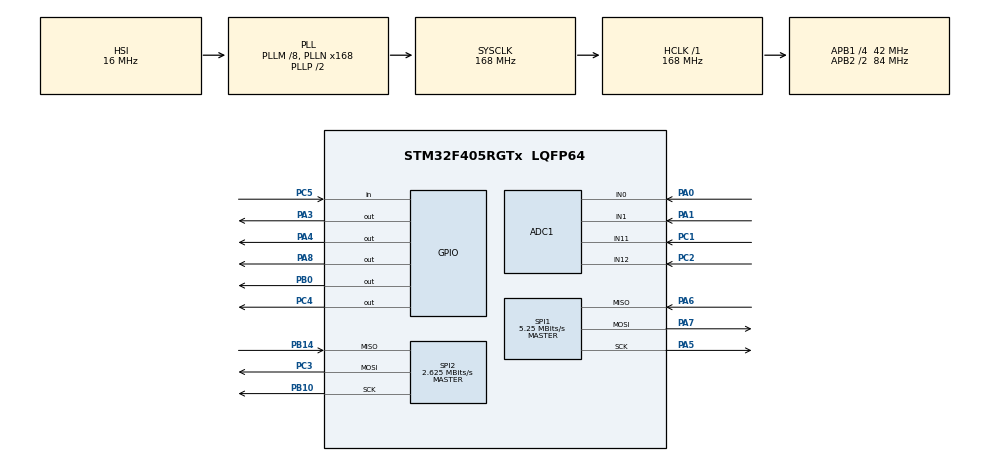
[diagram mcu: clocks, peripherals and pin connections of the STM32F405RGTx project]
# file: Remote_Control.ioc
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ADC1.Channel-0\#ChannelRegularConversion=ADC_CHANNEL_0
ADC1.Channel-1\#ChannelRegularConversion=ADC_CHANNEL_1
ADC1.Channel-2\#ChannelRegularConversion=ADC_CHANNEL_11
ADC1.Channel-3\#ChannelRegularConversion=ADC_CHANNEL_12
ADC1.ContinuousConvMode=ENABLE
ADC1.DMAContinuousRequests=ENABLE
ADC1.DiscontinuousConvMode=DISABLE
ADC1.ExternalTrigConv=ADC_EXTERNALTRIGCONV_T2_TRGO
ADC1.ExternalTrigConvEdge=ADC_EXTERNALTRIGCONVEDGE_RISINGFALLING
ADC1.NbrOfConversion=4
ADC1.NbrOfConversionFlag=1
ADC1.Rank-0\#ChannelRegularConversion=1
ADC1.Rank-1\#ChannelRegularConversion=2
ADC1.Rank-2\#ChannelRegularConversion=3
ADC1.Rank-3\#ChannelRegularConversion=4
ADC1.SamplingTime-0\#ChannelRegularConversion=ADC_SAMPLETIME_3CYCLES
ADC1.SamplingTime-1\#ChannelRegularConversion=ADC_SAMPLETIME_3CYCLES
ADC1.SamplingTime-2\#ChannelRegularConversion=ADC_SAMPLETIME_3CYCLES
ADC1.SamplingTime-3\#ChannelRegularConversion=ADC_SAMPLETIME_3CYCLES
ADC1.ScanConvMode=ENABLE
ADC1.master=1
Dma.ADC1.1.Direction=DMA_PERIPH_TO_MEMORY
Dma.ADC1.1.FIFOMode=DMA_FIFOMODE_DISABLE
Dma.ADC1.1.Instance=DMA2_Stream0
Dma.ADC1.1.MemDataAlignment=DMA_MDATAALIGN_HALFWORD
Dma.ADC1.1.MemInc=DMA_MINC_ENABLE
Dma.ADC1.1.Mode=DMA_CIRCULAR
Dma.ADC1.1.PeriphDataAlignment=DMA_PDATAALIGN_HALFWORD
Dma.ADC1.1.PeriphInc=DMA_PINC_DISABLE
Dma.ADC1.1.Priority=DMA_PRIORITY_LOW
Dma.Request0=SPI2_TX
Dma.Request1=ADC1
Dma.SPI2_TX.0.Direction=DMA_MEMORY_TO_PERIPH
Dma.SPI2_TX.0.FIFOMode=DMA_FIFOMODE_DISABLE
Dma.SPI2_TX.0.Instance=DMA1_Stream4
Dma.SPI2_TX.0.MemDataAlignment=DMA_MDATAALIGN_BYTE
Dma.SPI2_TX.0.MemInc=DMA_MINC_ENABLE
Dma.SPI2_TX.0.Mode=DMA_NORMAL
Dma.SPI2_TX.0.PeriphDataAlignment=DMA_PDATAALIGN_BYTE
Dma.SPI2_TX.0.PeriphInc=DMA_PINC_DISABLE
Dma.SPI2_TX.0.Priority=DMA_PRIORITY_MEDIUM
Mcu.Family=STM32F4
Mcu.Name=STM32F405RGTx
Mcu.Package=LQFP64
NVIC.DMA1_Stream4_IRQn=true\:0\:0\:false\:false\:true\:false\:true
NVIC.DMA2_Stream0_IRQn=true\:0\:0\:false\:false\:true\:false\:true
NVIC.PriorityGroup=NVIC_PRIORITYGROUP_4
NVIC.TIM2_IRQn=true\:7\:0\:true\:false\:true\:true\:true
PA0-WKUP.Signal=ADCx_IN0
PA1.Signal=ADCx_IN1
PA13.Mode=Serial_Wire
PA13.Signal=SYS_JTMS-SWDIO
PA14.Mode=Serial_Wire
PA14.Signal=SYS_JTCK-SWCLK
PA3.Signal=GPIO_Output
PA4.GPIO_PuPd=GPIO_PULLUP
PA4.GPIO_Speed=GPIO_SPEED_FREQ_VERY_HIGH
PA4.Signal=GPIO_Output
PA5.Mode=Full_Duplex_Master
PA5.Signal=SPI1_SCK
PA6.Mode=Full_Duplex_Master
PA6.Signal=SPI1_MISO
PA7.Mode=Full_Duplex_Master
PA7.Signal=SPI1_MOSI
PA8.GPIO_PuPd=GPIO_PULLUP
PA8.GPIO_Speed=GPIO_SPEED_FREQ_VERY_HIGH
PA8.Signal=GPIO_Output
PB0.GPIO_Speed=GPIO_SPEED_FREQ_VERY_HIGH
PB0.Signal=GPIO_Output
PB10.Mode=Full_Duplex_Master
PB10.Signal=SPI2_SCK
PB14.Mode=Full_Duplex_Master
PB14.Signal=SPI2_MISO
PC1.Signal=ADCx_IN11
PC14-OSC32_IN.Mode=LSE-External-Oscillator
PC14-OSC32_IN.Signal=RCC_OSC32_IN
PC15-OSC32_OUT.Mode=LSE-External-Oscillator
PC15-OSC32_OUT.Signal=RCC_OSC32_OUT
PC2.Signal=ADCx_IN12
PC3.Mode=Full_Duplex_Master
PC3.Signal=SPI2_MOSI
PC4.Signal=GPIO_Output
PC5.Signal=GPIO_Input
PH0-OSC_IN.Mode=HSE-External-Oscillator
PH0-OSC_IN.Signal=RCC_OSC_IN
PH1-OSC_OUT.Mode=HSE-External-Oscillator
PH1-OSC_OUT.Signal=RCC_OSC_OUT
ProjectManager.HeapSize=0x2000
ProjectManager.StackSize=0x2000
ProjectManager.TargetToolchain=MDK-ARM V5.27
RCC.48MHZClocksFreq_Value=84000000
RCC.AHBFreq_Value=168000000
RCC.APB1CLKDivider=RCC_HCLK_DIV4
RCC.APB1Freq_Value=42000000
RCC.APB1TimFreq_Value=84000000
RCC.APB2CLKDivider=RCC_HCLK_DIV2
RCC.APB2Freq_Value=84000000
RCC.APB2TimFreq_Value=168000000
RCC.CortexFreq_Value=168000000
RCC.HCLKFreq_Value=168000000
RCC.HSE_VALUE=8000000
RCC.HSI_VALUE=16000000
RCC.PLLM=8
RCC.PLLN=168
RCC.SYSCLKFreq_VALUE=168000000
RCC.SYSCLKSource=RCC_SYSCLKSOURCE_PLLCLK
RCC.VCOOutputFreq_Value=336000000
SH.ADCx_IN0.0=ADC1_IN0,IN0
SH.ADCx_IN1.0=ADC1_IN1,IN1
SH.ADCx_IN11.0=ADC1_IN11,IN11
SH.ADCx_IN12.0=ADC1_IN12,IN12
SPI1.BaudRatePrescaler=SPI_BAUDRATEPRESCALER_16
SPI1.CalculateBaudRate=5.25 MBits/s
SPI1.Direction=SPI_DIRECTION_2LINES
SPI1.Mode=SPI_MODE_MASTER
SPI1.VirtualType=VM_MASTER
SPI2.BaudRatePrescaler=SPI_BAUDRATEPRESCALER_16
SPI2.CLKPhase=SPI_PHASE_1EDGE
SPI2.CLKPolarity=SPI_POLARITY_HIGH
SPI2.CalculateBaudRate=2.625 MBits/s
SPI2.Direction=SPI_DIRECTION_2LINES
SPI2.Mode=SPI_MODE_MASTER
SPI2.VirtualType=VM_MASTER
TIM1.AutoReloadPreload=TIM_AUTORELOAD_PRELOAD_ENABLE
TIM1.Period=1000-1
TIM1.Prescaler=168
TIM1.TIM_MasterOutputTrigger=TIM_TRGO_UPDATE
TIM2.AutoReloadPreload=TIM_AUTORELOAD_PRELOAD_ENABLE
TIM2.Period=1000-1
TIM2.Prescaler=83
TIM2.TIM_MasterOutputTrigger=TIM_TRGO_UPDATE
TIM3.Period=1000-1
TIM3.Prescaler=30
TIM3.TIM_MasterOutputTrigger=TIM_TRGO_UPDATE
VP_TIM1_VS_ClockSourceITR.Mode=TriggerSource_ITR0
VP_TIM2_VS_ClockSourceINT.Mode=Internal
VP_TIM3_VS_ClockSourceITR.Mode=TriggerSource_ITR0
board=custom

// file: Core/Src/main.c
/* USER CODE BEGIN Header */
/**
  ******************************************************************************
  * @file           : main.c
  * @brief          : Main program body
  ******************************************************************************
  * @attention
  *
  * <h2><center>&copy; Copyright (c) 2026 STMicroelectronics.
  * All rights reserved.</center></h2>
  *
  * This software component is licensed by ST under BSD 3-Clause license,
  * the "License"; You may not use this file except in compliance with the
  * License. You may obtain a copy of the License at:
  *                        opensource.org/licenses/BSD-3-Clause
  *
  ******************************************************************************
  */
/* USER CODE END Header */
#include "main.h"
#include "adc.h"
#include "dma.h"
#include "spi.h"
#include "tim.h"
#include "gpio.h"

/* USER CODE BEGIN Includes */
#include "myproject.h"

/* USER CODE END Includes */

void SystemClock_Config(void);

int main(void)
{
  /* USER CODE BEGIN 1 */
uint8_t i,j;
	double t=0;
  /* USER CODE END 1 */

  /* MCU Configuration--------------------------------------------------------*/

  /* Reset of all peripherals, Initializes the Flash interface and the Systick. */
  HAL_Init();

  /* Configure the system clock */
  SystemClock_Config();

  /* Initialize all configured peripherals */
  MX_GPIO_Init();
  MX_DMA_Init();
  MX_SPI1_Init();
  MX_TIM1_Init();
  MX_TIM2_Init();
  MX_ADC1_Init();
  MX_TIM3_Init();
  MX_SPI2_Init();
  /* USER CODE BEGIN 2 */
	ST7789V_Init();//LCD初始化
//	ST7789V_Test();
	lv_init();          // LVGL 内核初始化
  lv_port_disp_init(); // 调用你修改后的显示接口初始化
	//lv_demo_widgets();
	myui_init();
	HAL_TIM_Base_Start_IT(&htim2);
	AirTack_Init();
	Vidadc_init();
	Vidcom_init();
  FR24L019P_init (FR24_TX_Mode);
  /* USER CODE END 2 */

  /* Infinite loop */
  /* USER CODE BEGIN WHILE */
  while (1)
  {
		AirTack_Scheduling();

//						LCD_ShowChinese(0,0,"中景园电子",RED,WHITE,32,0);
//		LCD_ShowString(0,40,"LCD_W:",RED,WHITE,16,0);
//		LCD_ShowIntNum(48,40,LCD_W,3,RED,WHITE,16);
//		LCD_ShowString(80,40,"LCD_H:",RED,WHITE,16,0);
//		LCD_ShowIntNum(128,40,LCD_H,3,RED,WHITE,16);
//		LCD_ShowString(80,40,"LCD_H:",RED,WHITE,16,0);
//		LCD_ShowString(0,70,"Increaseing Nun:",RED,WHITE,16,0);
//		LCD_ShowFloatNum1(128,70,t,4,RED,WHITE,16);
//		t+=0.11;
//		for(j=0;j<3;j++)
//		{
//			for(i=0;i<6;i++)
//			{
//				LCD_ShowPicture(40*i,120+j*40,40,40,gImage_1);
//			}
//		}

    /* USER CODE END WHILE */

  }
}

void SystemClock_Config(void)
{
  RCC_OscInitTypeDef RCC_OscInitStruct = {0};
  RCC_ClkInitTypeDef RCC_ClkInitStruct = {0};

  /** Configure the main internal regulator output voltage
  */
  __HAL_RCC_PWR_CLK_ENABLE();
  __HAL_PWR_VOLTAGESCALING_CONFIG(PWR_REGULATOR_VOLTAGE_SCALE1);
  /** Initializes the RCC Oscillators according to the specified parameters
  * in the RCC_OscInitTypeDef structure.
  */
  RCC_OscInitStruct.OscillatorType = RCC_OSCILLATORTYPE_HSI;
  RCC_OscInitStruct.HSIState = RCC_HSI_ON;
  RCC_OscInitStruct.HSICalibrationValue = RCC_HSICALIBRATION_DEFAULT;
  RCC_OscInitStruct.PLL.PLLState = RCC_PLL_ON;
  RCC_OscInitStruct.PLL.PLLSource = RCC_PLLSOURCE_HSI;
  RCC_OscInitStruct.PLL.PLLM = 8;
  RCC_OscInitStruct.PLL.PLLN = 168;
  RCC_OscInitStruct.PLL.PLLP = RCC_PLLP_DIV2;
  RCC_OscInitStruct.PLL.PLLQ = 4;
  if (HAL_RCC_OscConfig(&RCC_OscInitStruct) != HAL_OK)
  {
    Error_Handler();
  }
  /** Initializes the CPU, AHB and APB buses clocks
  */
  RCC_ClkInitStruct.ClockType = RCC_CLOCKTYPE_HCLK|RCC_CLOCKTYPE_SYSCLK
                              |RCC_CLOCKTYPE_PCLK1|RCC_CLOCKTYPE_PCLK2;
  RCC_ClkInitStruct.SYSCLKSource = RCC_SYSCLKSOURCE_PLLCLK;
  RCC_ClkInitStruct.AHBCLKDivider = RCC_SYSCLK_DIV1;
  RCC_ClkInitStruct.APB1CLKDivider = RCC_HCLK_DIV4;
  RCC_ClkInitStruct.APB2CLKDivider = RCC_HCLK_DIV2;

  if (HAL_RCC_ClockConfig(&RCC_ClkInitStruct, FLASH_LATENCY_5) != HAL_OK)
  {
    Error_Handler();
  }
}

/* USER CODE BEGIN 4 */
void HAL_TIM_PeriodElapsedCallback(TIM_HandleTypeDef *htim)
{
    if (htim->Instance == TIM2) // 确认是 TIM2
    {
			AirTack_Tick();
    }
}
/* USER CODE END 4 */

void Error_Handler(void)
{
  __disable_irq();
  while (1)
  {
  }
}

/************************ (C) COPYRIGHT STMicroelectronics *****END OF FILE****/
